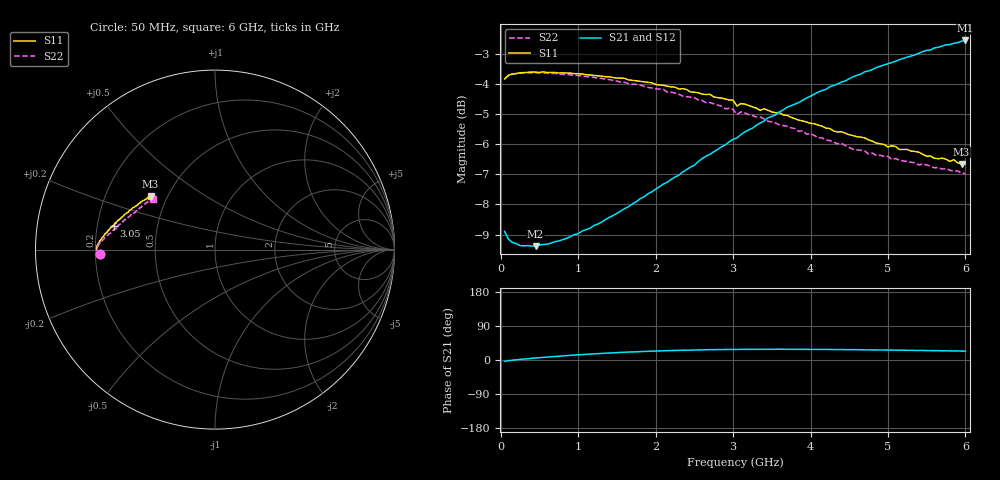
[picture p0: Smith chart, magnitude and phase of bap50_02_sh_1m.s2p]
! Created by janssen on Wed Jul 24 12:32:17 METDST 2002
# HZ S MA R 50
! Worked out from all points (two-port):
!   120 points, 50 MHz to 6 GHz, reference 50 ohm
!   highest |S21| = -2.56 dB at 6 GHz (marker M1); lowest = -9.4 dB at 450 MHz (marker M2)
!   |S21| within 3 dB of the highest: 3.177 GHz to end of sweep
!   lowest |S11| = -6.7 dB at 5.95 GHz (marker M3), VSWR 2.73, Z = 20.3 + j15.2 ohm
!   |S11| at or under -10 dB: nowhere
!   |S22| runs from -7.0 to -3.6 dB; largest |S21 - S12| = 0.013
!   S11 on the Smith chart (normalised r, x): 50 MHz: 0.22, -0.02; 3.05 GHz: 0.27, +0.11; 6 GHz: 0.41, +0.31
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5e7  0.6428 -177.9  0.3592 -3.4  0.358 -3.5  0.6426 -177.9
1.5e8  0.655 -179.0  0.3444 -0.6  0.3443 -0.7  0.6548 -179.1
4.5e8  0.6596 179.7  0.3394 5.3  0.3397 5.2  0.6579 179.6
1.05e9  0.6551 177.7  0.3596 14.2  0.3578 14.2  0.6501 177.8
1.6e9  0.6442 175.8  0.3918 20.4  0.3895 20.0  0.6345 175.8
2.05e9  0.6281 173.5  0.4259 23.9  0.4232 23.9  0.6184 174.0
2.5e9  0.611 171.3  0.4622 26.4  0.4617 26.2  0.5986 171.6
3e9  0.5927 167.8  0.5103 28.0  0.5057 27.8  0.5724 168.4
3.05e9  0.5797 166.7  0.5132 27.6  0.5067 27.9  0.561 167.9
3.1e9  0.585 167.3  0.5194 28.1  0.5142 28.1  0.5668 167.8
3.15e9  0.5839 166.8  0.5249 28.0  0.5196 28.0  0.5648 167.4
3.35e9  0.57 165.0  0.5432 28.1  0.5368 28.3  0.5564 165.8
3.4e9  0.5736 164.6  0.547 28.2  0.5416 28.4  0.552 165.7
3.6e9  0.5654 163.2  0.5668 28.4  0.5596 28.4  0.5394 164.0
3.65e9  0.5599 163.0  0.5713 28.3  0.5633 28.4  0.5379 163.1
3.7e9  0.5592 162.5  0.5773 28.3  0.5681 28.4  0.5364 163.3
4.05e9  0.5417 159.0  0.6066 27.9  0.6003 28.2  0.518 159.8
4.55e9  0.5177 154.3  0.6482 27.3  0.6385 27.7  0.4913 155.2
5.05e9  0.4982 149.4  0.6843 26.1  0.678 26.8  0.4724 150.0
5.55e9  0.4789 144.3  0.7177 24.8  0.7127 25.5  0.461 144.5
5.95e9  0.4644 140.7  0.7422 23.6  0.7411 24.6  0.449 141.1
6e9  0.4647 140.0  0.7445 23.4  0.743 24.3  0.4477 140.8
